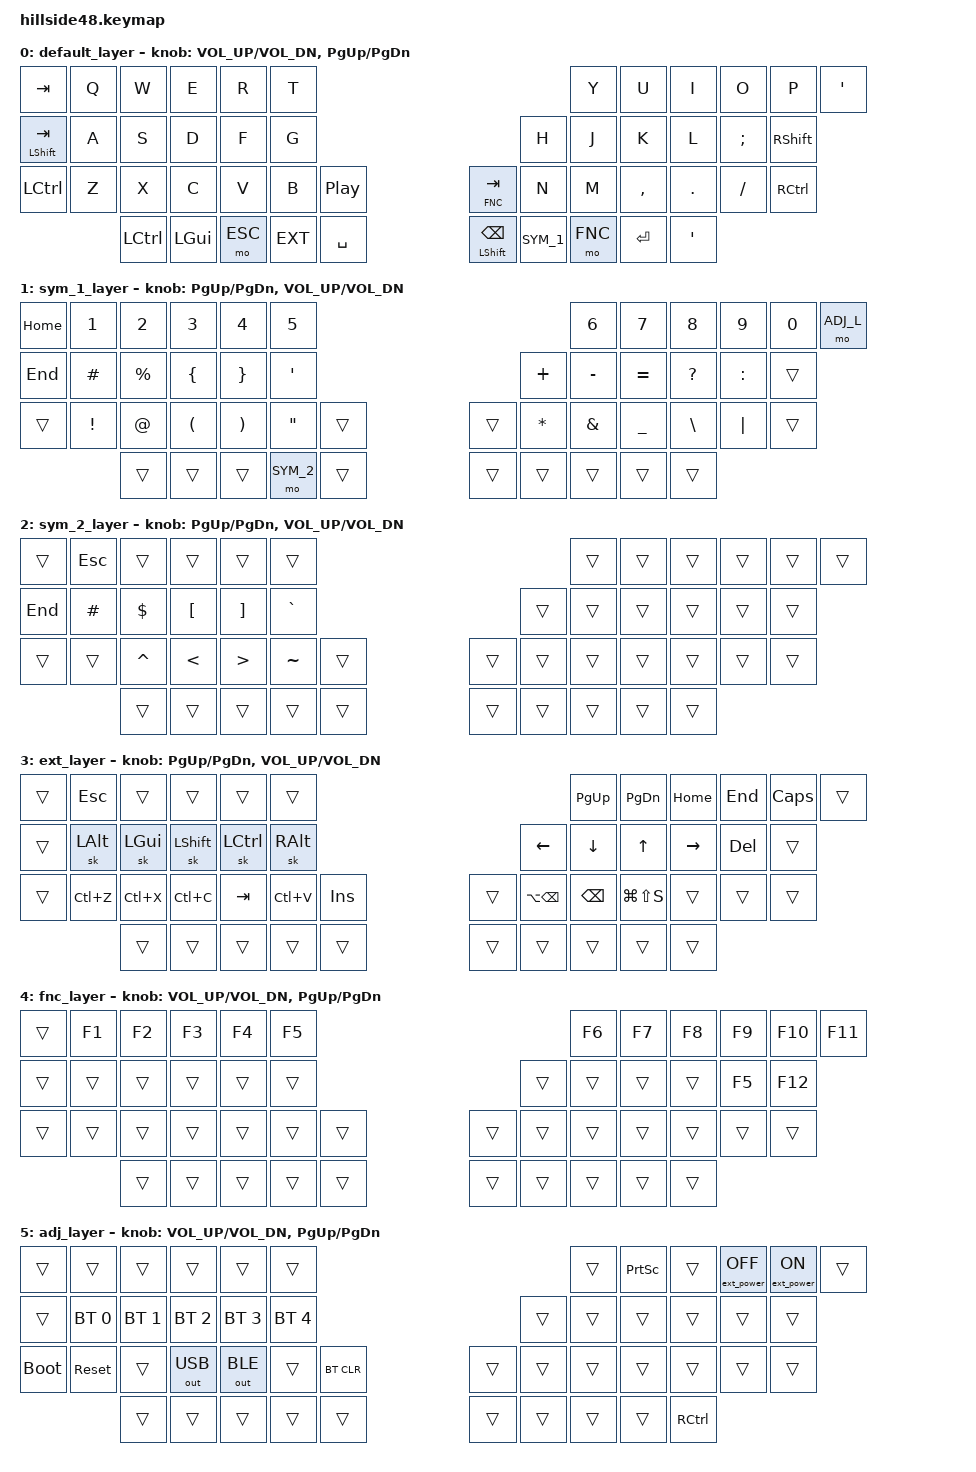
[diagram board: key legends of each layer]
/*
 * Copyright (c) 2022 The ZMK Contributors
 *
 * SPDX-License-Identifier: MIT
 */

#include <behaviors.dtsi>
#include <dt-bindings/zmk/bt.h>
#include <dt-bindings/zmk/ext_power.h>
#include <dt-bindings/zmk/keys.h>
#include <dt-bindings/zmk/outputs.h>

#define BASE    0
#define SYM_1   1
#define SYM_2   2
#define EXT     3
#define FNC     4
#define ADJ_L   5

#define Undo   LC(Z)
#define Cut    LC(X)
#define Copy   LC(C)
#define Paste  LC(V)

&mt {
   //  flavor = "tap-preferred";
   // tapping_term_ms = <200>;
};

&sk {
    ignore-modifiers;
};

/ {
		macros {
				// sometimes my device thinks a modifier is being held down
				// pressing all modifiers fixes it.
				unstick: unstick {
					label = "ZM_unstick";
					compatible = "zmk,behavior-macro";
					#binding-cells = <0>;
					bindings
						= <&kp LSHIFT &kp RSHIFT &kp LCTRL &kp RCTRL &kp LALT &kp RALT &kp LGUI &kp RGUI>;
				};
		};


        keymap {
                compatible = "zmk,keymap";

                default_layer {

                        bindings = <
&kp  TAB    &kp  Q        &kp  W        &kp  E        &kp  R        &kp  T                                                                         &kp  Y        &kp  U        &kp  I        &kp  O        &kp  P        &kp  SQT
&mt  LSHIFT TAB &kp  A    &kp  S        &kp  D        &kp  F        &kp  G                                                                         &kp  H        &kp  J        &kp  K        &kp  L        &kp  SEMI     &kp  RSHFT  
&kp  LCTRL    &kp  Z      &kp  X        &kp  C        &kp  V        &kp  B        &kp  C_PP                                          &lt  FNC TAB     &kp  N        &kp  M        &kp  COMMA    &kp  DOT      &kp  SLASH    &kp  RCTRL
                          &kp  LCTRL                  &kp  LGUI     &mo ESC     &kp  EXT    &kp SPACE             &mt LSHFT BSPC    &kp  SYM_1    &mo  FNC     &kp  ENTER                   &kp  SQT   
                        >;
			
                        sensor-bindings = <&inc_dec_kp C_VOL_UP C_VOL_DN &inc_dec_kp PG_UP PG_DN>;
                };

                sym_1_layer {

                        bindings = <
&kp  HOME     &kp  N1        &kp  N2       &kp  N3       &kp  N4       &kp  N5                                                                      &kp  N6       &kp  N7        &kp  N8       &kp  N9        &kp  N0        &mo ADJ_L
&kp  END      &kp  HASH     &kp  PRCNT   &kp  LBRC    &kp  RBRC    &kp  SQT                                                                    &kp  PLUS    &kp  MINUS    &kp  EQL     &kp  QMARK    &kp  COLON    &trans
&trans        &kp  EXCL     &kp  AT      &kp  LPAR    &kp  RPAR    &kp  DQT    &trans                                              &trans      &kp  ASTRK   &kp  AMPS     &kp  UNDER   &kp  BSLH     &kp  PIPE     &trans
                            &trans                      &trans        &trans        &mo SYM_2     &trans                 &trans    &trans      &trans        &trans                      &trans
                        >;
			
                        sensor-bindings = <&inc_dec_kp PG_UP PG_DN &inc_dec_kp C_VOL_UP C_VOL_DN>;
                };
		
                sym_2_layer {

                        bindings = <
&trans        &kp ESC        &trans       &trans       &trans       &trans                                                                      &trans        &trans        &trans       &trans       &trans       &trans
&kp  END      &kp  HASH     &kp  DOLLAR  &kp  LBKT    &kp  RBKT    &kp  GRAVE                                                                  &trans        &trans        &trans       &trans       &trans       &trans
&trans        &trans        &kp CARET    &kp  LT      &kp  GT      &kp  TILDE    &trans                                              &trans    &trans        &trans        &trans       &trans       &trans       &trans
                            &trans                    &trans       &trans        &trans        &trans                 &trans    &trans      &trans        &trans                        &trans
                        >;
			
                        sensor-bindings = <&inc_dec_kp PG_UP PG_DN &inc_dec_kp C_VOL_UP C_VOL_DN>;
                };
                
                ext_layer {

                        bindings = <
&trans      &kp ESC       &trans       &trans       &trans       &trans                                                                          &kp PG_UP      &kp PG_DN   &kp HOME      &kp END      &kp  CAPS     &trans
&trans      &sk LALT     &sk LGUI     &sk LSHFT    &sk LCTRL    &sk RALT                                                                     &kp  LEFT      &kp DOWN    &kp   UP      &kp   RIGHT  &kp  DEL      &trans
&trans      &kp LC(Z)    &kp LC(X)       &kp LC(C)       &kp TAB       &kp  LC(V)      &kp INS                                         &trans      &kp  LA(BSPC) &kp  BSPC    &kp LG(LS(S)) &trans       &trans        &trans
                            &trans                      &trans        &trans        &trans       &trans                 &trans     &trans      &trans        &trans                      &trans
                        >;
			
                        sensor-bindings = <&inc_dec_kp PG_UP PG_DN &inc_dec_kp C_VOL_UP C_VOL_DN>;
                };
		
                fnc_layer {
                        
                        bindings = <
&trans      &kp F1       &kp F2        &kp F3        &kp F4        &kp F5                                                                   &kp F6        &kp F7         &kp F8      &kp F9       &kp F10       &kp F11
&trans      &trans       &trans        &trans        &trans        &trans                                                                   &trans         &trans          &trans       &trans        &kp F5         &kp F12
&trans      &trans       &trans        &trans        &trans        &trans        &trans                                             &trans     &trans         &trans          &trans       &trans        &trans         &trans
                            &trans                      &trans        &trans        &trans        &trans                 &trans     &trans     &trans        &trans                     &trans
                        >;
			
                        sensor-bindings = <&inc_dec_kp C_VOL_UP C_VOL_DN &inc_dec_kp PG_UP PG_DN>;
                };

                adj_layer {

                        bindings = <
&trans         &trans        &trans        &trans        &trans        &trans                                                                            &trans             &kp PRINTSCREEN    &trans         &ext_power EP_OFF  &ext_power EP_ON &trans
&trans         &bt  BT_SEL 0 &bt  BT_SEL 1 &bt  BT_SEL 2 &bt  BT_SEL 3 &bt  BT_SEL 4                                                                     &trans             &trans              &trans            &trans           &trans            &trans
&bootloader   &sys_reset    &trans         &out OUT_USB  &out OUT_BLE  &trans         &bt BT_CLR                                         &trans            &trans             &trans              &trans            &trans           &trans            &trans
                            &trans                      &trans        &trans        &trans        &trans                 &trans        &trans           &trans            &trans                              &kp  RCTRL   
                        >;
			
                        sensor-bindings = <&inc_dec_kp C_VOL_UP C_VOL_DN &inc_dec_kp PG_UP PG_DN>;
                };
        };
};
